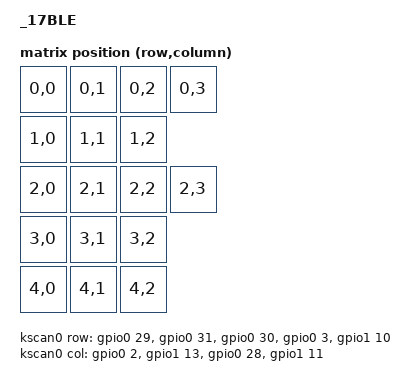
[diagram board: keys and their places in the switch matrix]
/*
 * Copyright (c) 2020 Pete Johanson, TJ Campie
 *
 * SPDX-License-Identifier: MIT
 */

/dts-v1/;
#include <nordic/nrf52840_qiaa.dtsi>
#include <dt-bindings/zmk/matrix_transform.h>

/ {
	model = "_17BLE";
	compatible = "17pad";

  chosen {
          zephyr,code-partition = &code_partition;
      		zephyr,sram = &sram0;
      		zephyr,flash = &flash0;

          zmk,kscan = &kscan0;
          zmk,matrix_transform = &default_transform;

      default_transform: keymap_transform_0 {
          compatible = "zmk,matrix-transform";
          columns = <4>;
          rows = <5>;
          map = <

      // | SW1  | SW2  | SW3  | SW4  | SW5  | SW6  | SW7  | SW8  | SW9  | SW10 |
      // | SW11 | SW12 | SW13 | SW14 | SW15 | SW16 | SW17 | SW18 | SW19 | SW20 |
      // | SW21 | SW22 | SW23 | SW24 | SW25 | SW26 | SW27 | SW28 | SW29 | SW30 |
      //               | SW31 | SW32 | SW33 | SW34 | SW35 | SW36 |
      RC(0,0) RC(0,1) RC(0,2) RC(0,3)
      RC(1,0) RC(1,1) RC(1,2)
      RC(2,0) RC(2,1) RC(2,2) RC(2,3)
      RC(3,0) RC(3,1) RC(3,2)
      RC(4,0) RC(4,1) RC(4,2)
          >;
      };

    kscan0: kscan_0 {
        compatible = "zmk,kscan-gpio-matrix";
        label = "KSCAN";
        diode-direction = "col2row";

        col-gpios
            = <&gpio0 2 GPIO_ACTIVE_HIGH>
            , <&gpio1 13 GPIO_ACTIVE_HIGH>
            , <&gpio0 28 GPIO_ACTIVE_HIGH>
            , <&gpio1 11 GPIO_ACTIVE_HIGH>
            ;

        row-gpios
            = <&gpio0 29 (GPIO_ACTIVE_HIGH | GPIO_PULL_DOWN)>
            , <&gpio0 31 (GPIO_ACTIVE_HIGH | GPIO_PULL_DOWN)>
            , <&gpio0 30 (GPIO_ACTIVE_HIGH | GPIO_PULL_DOWN)>
            , <&gpio0 3 (GPIO_ACTIVE_HIGH | GPIO_PULL_DOWN)>
            , <&gpio1 10 (GPIO_ACTIVE_HIGH | GPIO_PULL_DOWN)>
            ;
    };

};

	vbatt {
		compatible = "zmk,battery-voltage-divider";
		label = "BATTERY";
		io-channels = <&adc 2>;
    output-ohms = <2000000>;
		full-ohms = <(2000000 + 806000)>;
	};
};

&adc {
	status = "okay";
};

&gpiote {
	status = "okay";
};

&gpio0 {
	status = "okay";
};

&gpio1 {
	status = "okay";
};

&uart0 {
 	compatible = "nordic,nrf-uarte";
 	status = "okay";
 	current-speed = <115200>;
 	tx-pin = <16>;
 	rx-pin = <14>;
 	rts-pin = <13>;
	cts-pin = <15>;
 };

&usbd {
	status = "okay";
};

&flash0 {
	/*
	 * For more information, see:
	 * http://docs.zephyrproject.org/latest/devices/dts/flash_partitions.html
	 */
	partitions {
		compatible = "fixed-partitions";
		#address-cells = <1>;
		#size-cells = <1>;

		sd_partition: partition@0 {
			label = "softdevice";
			reg = <0x00000000 0x00026000>;
		};
		code_partition: partition@26000 {
			label = "code_partition";
			reg = <0x00026000 0x000c6000>;
		};

		/*
		 * The flash starting at 0x000ec000 and ending at
		 * 0x000f3fff is reserved for use by the application.
		 */

		/*
		 * Storage partition will be used by FCB/LittleFS/NVS
		 * if enabled.
		 */
		storage_partition: partition@ec000 {
			label = "storage";
			reg = <0x000ec000 0x00008000>;
		};

		boot_partition: partition@f4000 {
			label = "adafruit_boot";
			reg = <0x000f4000 0x0000c000>;
		};
	};
};
